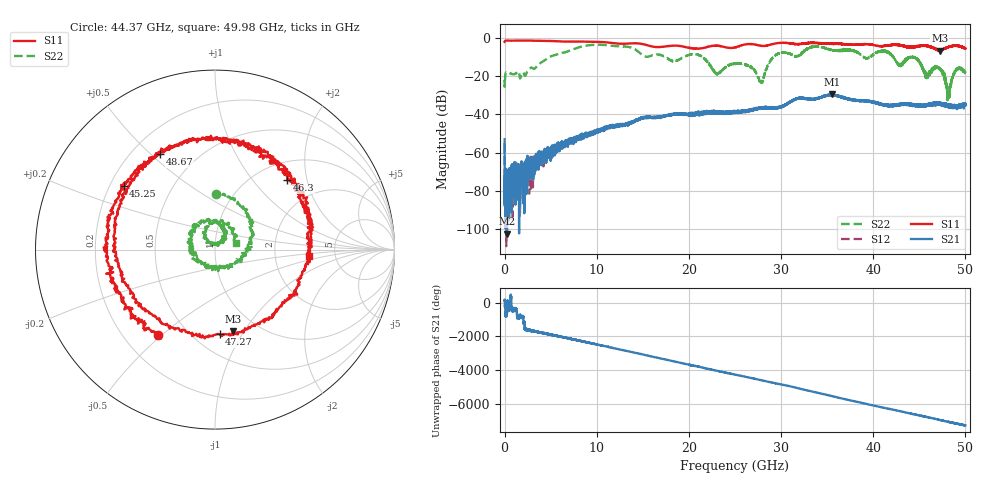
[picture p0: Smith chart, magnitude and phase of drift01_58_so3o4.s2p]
!Created with skrf (http://scikit-rf.org).
# Hz S RI R 50.0
!freq ReS11 ImS11 ReS21 ImS21 ReS12 ImS12 ReS22 ImS22
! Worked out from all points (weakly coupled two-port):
!   10001 points, 300 kHz to 50 GHz, reference 50 ohm
!   highest |S21| = -29.51 dB at 35.56 GHz (marker M1); lowest = -102.4 dB at 260.3 MHz (marker M2)
!   lowest |S11| = -6.6 dB at 47.21 GHz (marker M3), VSWR 2.75, Z = 38.6 - j44.8 ohm
!   |S11| at or under -10 dB: nowhere
!   |S22| runs from -32.6 to -3.6 dB; largest |S21 - S12| = 0.0044
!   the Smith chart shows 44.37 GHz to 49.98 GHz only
!   S11 on the Smith chart (normalised r, x): 44.37 GHz: 0.34, -0.49; 45.25 GHz: 0.26, +0.30; 46.3 GHz: 1.36, +1.52; 47.27 GHz: 0.66, -0.81; 48.67 GHz: 0.31, +0.54; 49.98 GHz: 3.18, -0.32
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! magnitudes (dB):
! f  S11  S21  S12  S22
! 300 kHz  -2.1  -52.9  -55.3  -22.0
! 260.3 MHz  -1.4  -102.4  -74.7  -18.0
! 8.335 GHz  -1.9  -50.8  -50.9  -4.5
! 16.67 GHz  -4.8  -41.7  -41.4  -8.7
! 20.99 GHz  -5.6  -39.5  -39.3  -8.8
! 23.08 GHz  -4.1  -38.8  -39.0  -18.7
! 25 GHz  -5.0  -39.1  -38.8  -13.5
! 27.85 GHz  -4.2  -36.7  -36.6  -23.2
! 29.46 GHz  -2.9  -36.7  -36.8  -8.9
! 33.34 GHz  -2.6  -32.1  -32.1  -4.8
! 35.56 GHz  -3.1  -29.5  -29.9  -6.4
! 41.67 GHz  -3.9  -35.1  -35.5  -7.9
! 42.89 GHz  -3.8  -35.0  -34.4  -14.4
! 44.37 GHz  -4.9  -35.2  -35.1  -10.2
! 45.25 GHz  -4.1  -35.5  -35.0  -14.6
! 46.3 GHz  -5.1  -35.6  -34.7  -17.1
! 47.21 GHz  -6.6  -34.6  -34.6  -16.0
! 47.27 GHz  -6.5  -34.9  -34.8  -16.3
! 48.12 GHz  -4.9  -35.4  -35.2  -29.1
! 48.67 GHz  -4.2  -35.6  -35.6  -19.1
! 49.98 GHz  -5.6  -34.5  -34.2  -18.2
! 50 GHz  -5.6  -34.7  -35.1  -18.3
